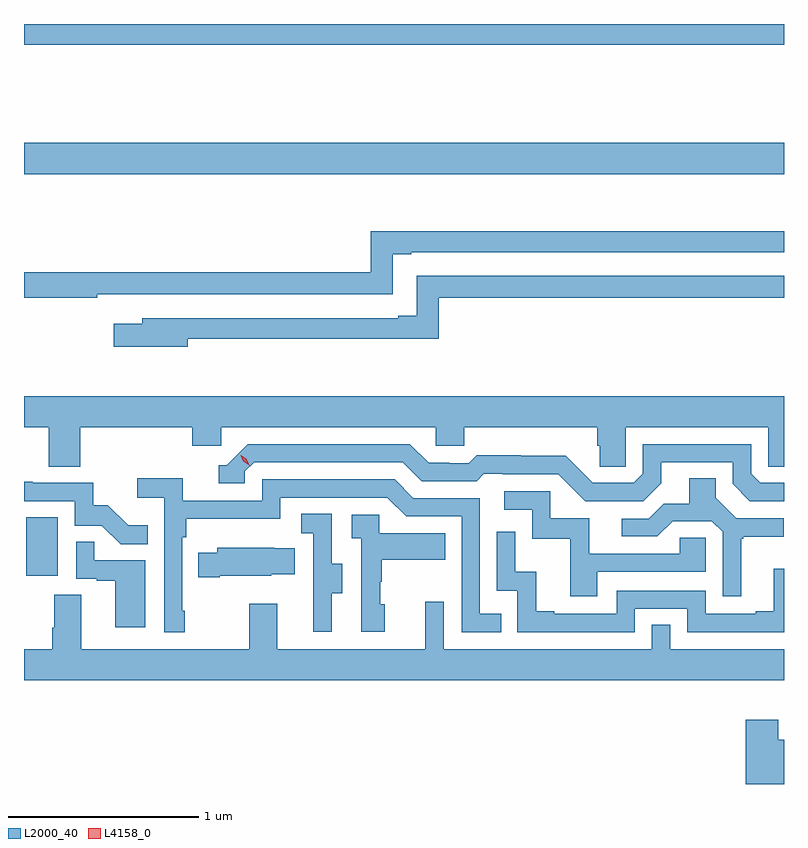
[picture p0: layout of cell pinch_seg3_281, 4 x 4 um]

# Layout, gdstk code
import gdstk
lib = gdstk.Library(unit=1e-6, precision=1e-09)
def R(c, l, rs):  # rectangles x0, y0, x1, y1
    for r in rs: c.add(gdstk.rectangle(r[:2], r[2:], *l))
def P(c, l, *ps):  # polygons
    for p in ps: c.add(gdstk.Polygon(p, *l))
L2000_40 = (2000, 40)
L4158_0 = (4158, 0)

pinch_seg3_281 = lib.new_cell('pinch_seg3_281')
R(pinch_seg3_281, L2000_40, [(936.548,710.79,936.712,711.097), (936.535,712.904,940.535,713.068), (936.535,713.584,940.535,713.694)])
P(pinch_seg3_281, L2000_40, [(936.92,712.272),(938.475,712.272),(938.475,712.482),(938.572,712.482),(938.572,712.494),(940.535,712.494),(940.535,712.603),(938.359,712.603),(938.359,712.388),(936.535,712.388),(936.535,712.252),(936.92,712.252)],
  [(937.396,712.038),(938.717,712.038),(938.717,712.252),(940.535,712.252),(940.535,712.368),(938.601,712.368),(938.601,712.159),(938.504,712.159),(938.504,712.146),(937.157,712.146),(937.157,712.117),(937.008,712.117),(937.008,711.995),(937.396,711.995)],
  [(936.83,711.572),(937.421,711.572),(937.421,711.474),(937.572,711.474),(937.572,711.572),(938.703,711.572),(938.703,711.474),(938.853,711.474),(938.853,711.572),(939.551,711.572),(939.551,711.474),(939.565,711.474),(939.565,711.364),(939.702,711.364),(939.702,711.572),(940.452,711.572),(940.452,711.364),(940.535,711.364),(940.535,711.736),(936.535,711.736),(936.535,711.572),(936.665,711.572),(936.665,711.364),(936.83,711.364)],
  [(939.889,711.277),(939.889,711.387),(940.266,711.387),(940.266,711.273),(940.356,711.183),(940.535,711.183),(940.535,711.279),(940.41,711.279),(940.362,711.327),(940.362,711.483),(939.792,711.483),(939.792,711.327),(939.744,711.279),(939.528,711.279),(939.386,711.421),(939.15,711.421),(939.15,711.424),(938.917,711.424),(938.875,711.381),(938.772,711.381),(938.772,711.384),(938.665,711.384),(938.566,711.483),(937.713,711.483),(937.602,711.372),(937.559,711.372),(937.559,711.276),(937.698,711.276),(937.698,711.339),(937.746,711.387),(938.529,711.387),(938.628,711.288),(938.917,711.288),(938.956,711.327),(939.055,711.327),(939.055,711.324),(939.348,711.324),(939.489,711.183),(939.795,711.183)],
  [(937.381,710.605),(937.368,710.605),(937.368,710.993),(937.388,710.993),(937.388,711.089),(937.884,711.089),(937.884,711.201),(938.448,711.201),(938.547,711.102),(938.838,711.102),(938.838,710.493),(939.047,710.493),(939.047,710.589),(938.934,710.589),(938.934,711.198),(938.584,711.198),(938.485,711.297),(937.788,711.297),(937.788,711.186),(937.37,711.186),(937.37,711.302),(937.131,711.302),(937.131,711.2),(937.272,711.2),(937.272,710.493),(937.381,710.493)],
  [(940.309,710.985),(940.321,710.985),(940.321,710.996),(940.534,710.996),(940.534,711.093),(940.284,711.093),(940.177,711.2),(940.177,711.302),(940.037,711.302),(940.037,711.17),(939.902,711.17),(939.822,711.09),(939.681,711.09),(939.681,710.997),(939.868,710.997),(939.949,711.078),(940.155,711.078),(940.212,711.021),(940.212,710.682),(940.309,710.682)],
  [(937.187,711.055),(937.083,711.055),(936.976,711.162),(936.9,711.162),(936.9,711.279),(936.581,711.279),(936.581,711.284),(936.535,711.284),(936.535,711.183),(936.801,711.183),(936.801,711.054),(936.945,711.054),(937.043,710.956),(937.187,710.956)],
  [(939.553,710.811),(940.122,710.811),(940.122,710.991),(939.985,710.991),(939.985,710.907),(939.511,710.907),(939.511,711.093),(939.306,711.093),(939.306,711.234),(939.063,711.234),(939.063,711.138),(939.21,711.138),(939.21,710.985),(939.409,710.985),(939.409,710.682),(939.553,710.682)],
  [(938.155,710.698),(938.209,710.698),(938.209,710.853),(938.154,710.853),(938.154,711.116),(937.995,711.116),(937.995,711.013),(938.058,711.013),(938.058,710.709),(938.057,710.709),(938.057,710.496),(938.155,710.496)],
  [(938.434,710.64),(938.409,710.64),(938.409,710.759),(938.419,710.759),(938.419,710.873),(938.753,710.873),(938.753,711.013),(938.406,711.013),(938.406,711.111),(938.259,711.111),(938.259,710.987),(938.31,710.987),(938.31,710.496),(938.434,710.496)],
  [(939.75,710.616),(940.026,710.616),(940.026,710.493),(940.535,710.493),(940.535,710.827),(940.481,710.827),(940.481,710.602),(940.385,710.602),(940.385,710.589),(940.122,710.589),(940.122,710.712),(939.654,710.712),(939.654,710.589),(939.325,710.589),(939.325,710.602),(939.23,710.602),(939.23,710.81),(939.12,710.81),(939.12,711.022),(939.024,711.022),(939.024,710.712),(939.132,710.712),(939.132,710.493),(939.75,710.493)],
  [(937.174,710.871),(936.905,710.871),(936.905,710.969),(936.81,710.969),(936.81,710.775),(936.917,710.775),(936.917,710.763),(937.016,710.763),(937.016,710.52),(937.174,710.52)],
  [(937.564,710.789),(937.836,710.789),(937.836,710.798),(937.961,710.798),(937.961,710.935),(937.853,710.935),(937.853,710.938),(937.551,710.938),(937.551,710.911),(937.453,710.911),(937.453,710.782),(937.564,710.782)],
  [(940.535,710.404),(939.936,710.404),(939.936,710.531),(939.84,710.531),(939.84,710.404),(938.745,710.404),(938.745,710.653),(938.648,710.653),(938.648,710.404),(937.867,710.404),(937.867,710.644),(937.72,710.644),(937.72,710.404),(936.835,710.404),(936.835,710.69),(936.695,710.69),(936.695,710.516),(936.683,710.516),(936.683,710.404),(936.535,710.404),(936.535,710.24),(940.535,710.24)],
  [(940.535,709.927),(940.504,709.927),(940.504,710.032),(940.334,710.032),(940.334,709.694),(940.535,709.694)])
P(pinch_seg3_281, L4158_0, [(937.721,711.372),(937.69,711.392),(937.675,711.425),(937.675,711.425),(937.675,711.425),(937.706,711.405),(937.721,711.372),(937.721,711.372)])

lib.write_gds('pinch_seg3_281.gds')
